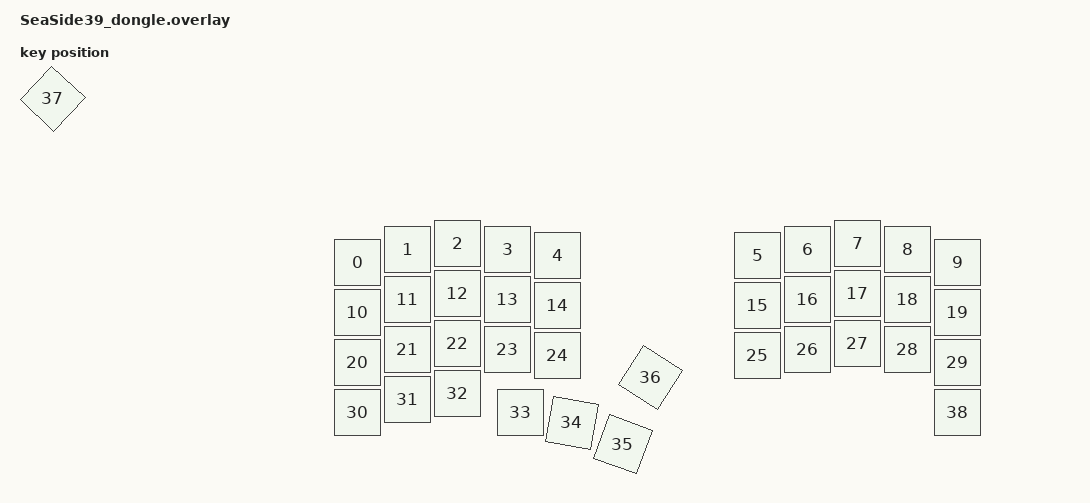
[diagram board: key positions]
#include <dt-bindings/zmk/matrix_transform.h>
#include <physical_layouts.dtsi>
#include <zephyr/dt-bindings/input/input-event-codes.h>
#include <input/processors.dtsi>
#include <mouse-gesture.dtsi>
#include <input/processors/zmk-input-processor-keybind.dtsi>

/ {
    chosen {
        zmk,kscan = &mock_kscan;
        zmk,physical-layout = &SeaSide39_physical_layout;
    };

    mock_kscan: mock_kscan {
        compatible = "zmk,kscan-mock";
        columns = <0>;
        rows = <0>;
        events = <0>;
    };

    SeaSide39_physical_layout: SeaSide39_physical_layout {
        compatible = "zmk,physical-layout";
        display-name = "Default";
        transform = <&default_transform>;
        kscan = <&mock_kscan>;
        keys
            = <&key_physical_attrs 100 100    0   37       0     0     0>
            , <&key_physical_attrs 100 100  100   12       0     0     0>
            , <&key_physical_attrs 100 100  200    0       0     0     0>
            , <&key_physical_attrs 100 100  300   12       0     0     0>
            , <&key_physical_attrs 100 100  400   24       0     0     0>
            , <&key_physical_attrs 100 100  800   24       0     0     0>
            , <&key_physical_attrs 100 100  900   12       0     0     0>
            , <&key_physical_attrs 100 100 1000    0       0     0     0>
            , <&key_physical_attrs 100 100 1100   12       0     0     0>
            , <&key_physical_attrs 100 100 1200   37       0     0     0>
            , <&key_physical_attrs 100 100    0  137       0     0     0>
            , <&key_physical_attrs 100 100  100  112       0     0     0>
            , <&key_physical_attrs 100 100  200  100       0     0     0>
            , <&key_physical_attrs 100 100  300  112       0     0     0>
            , <&key_physical_attrs 100 100  400  124       0     0     0>
            , <&key_physical_attrs 100 100  800  124       0     0     0>
            , <&key_physical_attrs 100 100  900  112       0     0     0>
            , <&key_physical_attrs 100 100 1000  100       0     0     0>
            , <&key_physical_attrs 100 100 1100  112       0     0     0>
            , <&key_physical_attrs 100 100 1200  137       0     0     0>
            , <&key_physical_attrs 100 100    0  237       0     0     0>
            , <&key_physical_attrs 100 100  100  212       0     0     0>
            , <&key_physical_attrs 100 100  200  200       0     0     0>
            , <&key_physical_attrs 100 100  300  212       0     0     0>
            , <&key_physical_attrs 100 100  400  224       0     0     0>
            , <&key_physical_attrs 100 100  800  224       0     0     0>
            , <&key_physical_attrs 100 100  900  212       0     0     0>
            , <&key_physical_attrs 100 100 1000  200       0     0     0>
            , <&key_physical_attrs 100 100 1100  212       0     0     0>
            , <&key_physical_attrs 100 100 1200  237       0     0     0>
            , <&key_physical_attrs 100 100    0  337       0     0     0>
            , <&key_physical_attrs 100 100  100  312       0     0     0>
            , <&key_physical_attrs 100 100  200  300       0     0     0>
            , <&key_physical_attrs 100 100  325  337       0     0     0>
            , <&key_physical_attrs 100 100  437  350    1000   437   350>
            , <&key_physical_attrs 100 100  550  387    2000   550   387>
            , <&key_physical_attrs 100 100  650  387 0xFFFFF830   650   387>
            , <&key_physical_attrs 100 100  763  350 0xFFFFFC18     0   350>
            , <&key_physical_attrs 100 100 1200  337       0     0     0>
            ;
    };

    default_transform: keymap_transform_0 {
        compatible = "zmk,matrix-transform";
        columns = <11>;
        rows = <4>;
        map = <
            MTX(0,0) MTX(0,1) MTX(0,2) MTX(0,3) MTX(0,4)                     MTX(0,6) MTX(0,7) MTX(0,8) MTX(0,9) MTX(0,10)
            MTX(1,0) MTX(1,1) MTX(1,2) MTX(1,3) MTX(1,4)                     MTX(1,6) MTX(1,7) MTX(1,8) MTX(1,9) MTX(1,10)
            MTX(2,0) MTX(2,1) MTX(2,2) MTX(2,3) MTX(2,4)                     MTX(2,6) MTX(2,7) MTX(2,8) MTX(2,9) MTX(2,10)
            MTX(3,0) MTX(3,1) MTX(3,2) MTX(3,3) MTX(3,4) MTX(3,5)     MTX(3,7) MTX(3,6)                         MTX(3,10)
        >;
    };

    split_inputs {
        #address-cells = <1>;
        #size-cells = <0>;

        trackball_split: trackball_split@0 {
            compatible = "zmk,input-split";
            reg = <0>;
        };
    };

    zip_slow: zip_slow {
        compatible = "zmk,input-processor-scaler";
        #input-processor-cells = <2>;
        type = <INPUT_EV_REL>;
        codes = <INPUT_REL_X INPUT_REL_Y>;
        track-remainders;
    };

    zip_scroll_invert: zip_scroll_invert {
        compatible = "zmk,input-processor-scaler";
        #input-processor-cells = <2>;
        type = <INPUT_EV_REL>;
        codes = <INPUT_REL_WHEEL>;
        track-remainders;
    };

    zip_mouse_gesture {
        stroke-size = <150>;
        idle-timeout-ms = <50>;
        gesture-cooldown-ms = <200>;
        enable-eager-mode;
    };

    layer_listeners {
        compatible = "zmk,layer-listeners";

        num_gesture {
            layers = <2>;
            bindings = <&mouse_gesture_on &mouse_gesture_off>;
        };

        gesture_layer {
            layers = <7>;
            bindings = <&mouse_gesture_on &mouse_gesture_off>;
        };

        gesture_c_layer {
            layers = <8>;
            bindings = <&mouse_gesture_on &mouse_gesture_off>;
        };
    };

    trackball_listener: trackball_listener {
        compatible = "zmk,input-listener";
        device = <&trackball_split>;
        input-processors = <&zip_slow 7 6>;

        num-layer {
            layers = <2>;
            input-processors = <&zip_keybind_arrows &zip_xy_scaler 0 1>;
        };

        mouse-layer {
            layers = <4>;
            input-processors = <&zip_slow 3 4>;
        };

        scroll {
            layers = <5>;
            input-processors =
                <&zip_xy_scaler 1 8>,
                <&zip_xy_to_scroll_mapper>,
                <&zip_scroll_invert (-1) 1>;
        };

        gesture-layer {
            layers = <7>;
            input-processors = <&zip_mouse_gesture_b &zip_xy_scaler 0 1>;
        };

        gesture-c-layer {
            layers = <8>;
            input-processors = <&zip_mouse_gesture_c &zip_xy_scaler 0 1>;
        };
    };
};
